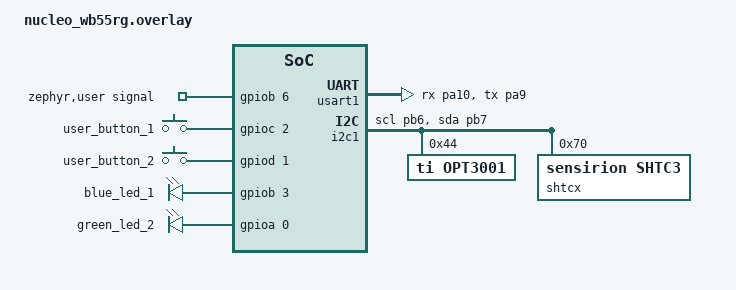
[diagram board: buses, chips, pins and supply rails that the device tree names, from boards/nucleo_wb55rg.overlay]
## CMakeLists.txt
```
# SPDX-License-Identifier: Apache-2.0

cmake_minimum_required(VERSION 3.20.0)

find_package(Zephyr REQUIRED HINTS $ENV{ZEPHYR_BASE})
project(button_test)

add_subdirectory(../../lib lib)

FILE(GLOB app_sources src/*.c)
target_sources(app PRIVATE ${app_sources})

#target_link_libraries(app PRIVATE button)
```

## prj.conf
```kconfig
CONFIG_LOG=y
CONFIG_GPIO=y
CONFIG_PM_DEVICE=y
CONFIG_STDOUT_CONSOLE=y
```

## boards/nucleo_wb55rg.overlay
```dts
&pinctrl {
    usart1_rx_pa10: usart1_rx_pa10 {
        pinmux = < STM32_PINMUX('A', 10, AF7) >;
    };

    usart1_tx_pa9: usart1_tx_pa9 {
        pinmux = < STM32_PINMUX('A', 9, AF7) >;
    };
};

// usart 1 on PA9 and PA10
&usart1 {
    pinctrl-0 = <&usart1_rx_pa10 &usart1_tx_pa9>;
};

// i2c1 for sht
&i2c1 {
    pinctrl-0 = <&i2c1_scl_pb6 &i2c1_sda_pb7>;
    status = "okay";
    pinctrl-names = "default";
    
	opt3001: opt3001@44 {
		compatible = "ti,opt3001";
		reg = <0x44>;
	};
	shtcx: shtc3@70 {
      compatible = "sensirion,shtc3", "sensirion,shtcx";
      reg = <0x70>;
      measure-mode = "normal";
      clock-stretching;
   };
};

&gpioa {
	status = "okay";
};
&gpiob {
	status = "okay";
};
&gpioc {
	status = "okay";
};
&gpiod {
	status = "okay";
};

/ {
	zephyr,user {
		signal-gpios =  < &gpiob 6 GPIO_ACTIVE_HIGH >; // Test scl
	};

	aliases {
		led1 = &green_led_2;
	};
};

// door 
&user_button_1 {
	gpios = < &gpioc 2 GPIO_ACTIVE_HIGH >; // Door uSwitch
};

&user_button_2 {
	gpios = < &gpiod 1 GPIO_ACTIVE_HIGH  >; // CTRL Btn
};

&blue_led_1 {
	gpios = < &gpiob 3 GPIO_ACTIVE_HIGH >; // User LED
};

&green_led_2 {
	gpios = < &gpioa 0 GPIO_ACTIVE_HIGH >; // Buzzer
};
// TODO add VCC ADC...
```

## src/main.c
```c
#include "zephyr/dt-bindings/gpio/gpio.h"
#include "zephyr/sys/time_units.h"
#include <zephyr/device.h>
#include <zephyr/devicetree.h>
#include <zephyr/drivers/gpio.h>

#include <zephyr/kernel.h>

//#include <zephyr/logging/log.h>
//LOG_MODULE_REGISTER(main, CONFIG_APP_LOG_LEVEL);

#include <button.h>

#define DOOR DT_ALIAS(sw0)
#define CTRL DT_ALIAS(sw1)

const struct gpio_dt_spec door_sw = GPIO_DT_SPEC_GET(DOOR, gpios);
const struct gpio_dt_spec ctrl_sw = GPIO_DT_SPEC_GET(CTRL, gpios);

struct button_context door_sw_context;	// keep it alive !
struct button_context ctrl_sw_context;	// keep it alive !

static void button_event_handler(enum button_evt evt, long info)
{
	printk("Button %ld event: %s\n", info, evt == BUTTON_EVT_PRESSED ? "Press" : "Release");
}

int main(void)
{
	bool err;

	printk("Button Debouncing Sample!\n");

	err = button_init(
		&door_sw_context,
		&door_sw,		
		button_event_handler,
		1,
		0);

	if (err) {
		printk("Button 1 Init failed: %d\n", err);
		return -1;
	}

	err = button_init(
		&ctrl_sw_context,
		&ctrl_sw,
		button_event_handler,
		2,
		GPIO_PULL_DOWN);

	if (err) {
		printk("Button 2 Init failed: %d\n", err);
		return -1;
	}

	printk("Init succeeded. Waiting for event...\n");

  // Main loop
  while (1) {
      k_sleep(K_SECONDS(1)); // Sleep for a while to save power
  }

	return 0;
}
```
